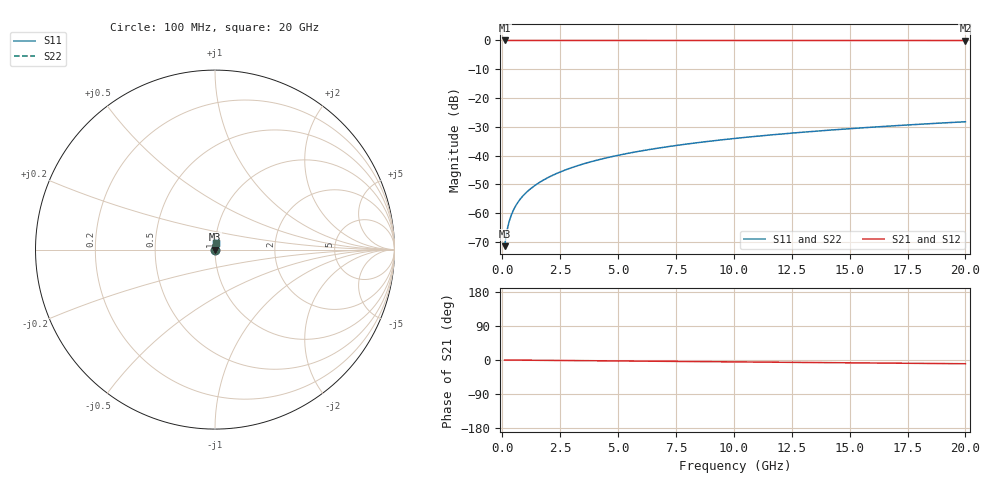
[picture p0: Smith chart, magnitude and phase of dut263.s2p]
! Touchstone file exported from HFSS 2026.1.0
!  File:  C:/ffzhzh/LocalFiles/Ansys_Project_Files/temp_train_TSV_263_1782993146_42984.aedt
!  Generated:  07:54:08 PM Jul  2, 2026
!  Design:  TSV
!  Project:  temp_train_TSV_263_1782993146_42984
! Variables:
!  h_bsmrdl = 2um
!  h_ox = 20um
!  h_rdl = 5um
!  h_sub = 93.74um
!  h_tmrdl = 5um
!  h_tsv = 93.74um
!  h_via = 3um
!  l_bsmrdl = 300um
!  l_sub = 422.62um
!  l_tmrdl = 200um
!  m_sub = 200um
!  pitch = 59.68um
!  r_tsv = 11.31um
!  s_tmrdl = 10um
!  w_bsmrdl = 18um
!  w_sub = 500um
!  w_tmrdl = 12um
!  x_tsv_center1 = 206um
!  x_tsv_center2 = 524um
!  x_tsv_center3 = 736um
!  x_tsv_center4 = 1054um
!  x_tsv_center5 = 1266um
!  x_tsv_center6 = 1584um
# GHz S MA R 50.000000
! Terminal data exported
! Port[1] = TSV1_1_T1
! Port[2] = TSV1_1_T2
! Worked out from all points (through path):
!   200 points, 100 MHz to 20 GHz, reference 50 ohm
!   highest |S21| = 0.00 dB at 100 MHz (marker M1); lowest = 0.0 dB at 20 GHz (marker M2)
!   group delay of S21, straight-line fit = 1.37 ps
!   lowest |S11| = -71.5 dB at 100 MHz (marker M3), VSWR 1.00, Z = 50 + j0.024 ohm
!   |S11| at or under -10 dB: start of sweep to end of sweep
!   |S22| runs from -71.5 to -28.3 dB; largest |S21 - S12| = 4.9e-15
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0.1  0.0002664 64.2  0.9999 -0.1  0.9999 -0.1  0.0002664 64.2
! Gamma 0 0 0 0
! Port Impedance 50 0 50 0
0.2  0.0004939 74.8  0.9999 -0.1  0.9999 -0.1  0.0004939 74.8
0.3  0.0007239 78.1  0.9999 -0.2  0.9999 -0.2  0.0007239 78.1
0.4  0.0009497 79.5  0.9998 -0.2  0.9998 -0.2  0.0009497 79.5
0.5  0.00117 80.1  0.9998 -0.3  0.9998 -0.3  0.00117 80.1
0.6  0.001385 80.6  0.9998 -0.3  0.9998 -0.3  0.001385 80.6
0.7  0.001595 80.9  0.9998 -0.4  0.9998 -0.4  0.001595 80.9
0.9  0.002006 81.4  0.9997 -0.5  0.9997 -0.5  0.002006 81.4
1.1  0.002409 81.8  0.9997 -0.6  0.9997 -0.6  0.002409 81.8
1.3  0.002808 82.2  0.9996 -0.7  0.9996 -0.7  0.002808 82.2
1.6  0.003403 82.7  0.9996 -0.8  0.9996 -0.8  0.003403 82.7
1.9  0.003997 83.1  0.9996 -1.0  0.9996 -1.0  0.003997 83.1
2.6  0.005383 83.7  0.9995 -1.3  0.9995 -1.3  0.005383 83.7
3.5  0.007161 84.0  0.9994 -1.7  0.9994 -1.7  0.007161 84.0
4.2  0.008537 84.0  0.9994 -2.1  0.9994 -2.1  0.008538 84.0
5  0.0101 83.9  0.9993 -2.5  0.9993 -2.5  0.0101 83.9
6.8  0.0136 83.5  0.9992 -3.4  0.9992 -3.4  0.0136 83.4
8.3  0.0165 83.0  0.999 -4.1  0.999 -4.1  0.0165 83.0
10.1  0.01996 82.4  0.9989 -5.0  0.9989 -5.0  0.01996 82.4
13.4  0.02626 81.1  0.9986 -6.6  0.9986 -6.6  0.02626 81.1
16.7  0.0325 79.7  0.9983 -8.2  0.9983 -8.2  0.0325 79.7
20  0.03868 78.2  0.998 -9.9  0.998 -9.9  0.03868 78.2
